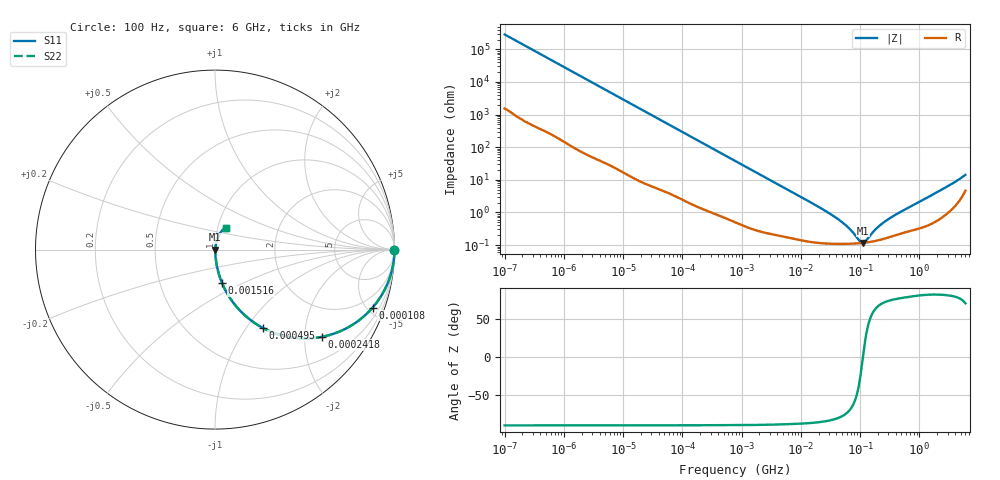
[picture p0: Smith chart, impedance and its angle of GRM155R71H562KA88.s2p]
!Murata Part Number: GRM155R71H562KA88
!These Parameters are Measured in Series Mode Connection
!Data Generated on Mar 30, 2021
!  o--ll--o
!Port1  Port2
!  o------o
!Operation Temp=25[degC], DC Bias Voltage=0[V]
!Freq. Start=100[Hz] Stop=6[GHz] 401[Steps]
# Hz S RI R 50
!Freq.(Hz) S11(Real) S11(Imag) S21(Real) S21(Imag) S12(Real) S12(Imag) S22(Real) S22(Imag)
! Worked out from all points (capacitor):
!   401 points, 100 Hz to 6 GHz, reference 50 ohm
!   read as one part in series: C = 5.56 nF near 109 Hz
!   lowest |Z| = 116 mohm at 111.6 MHz (marker M1)
!   series resonance near 111.8 MHz, so ESL is about 360 pH
!   S11 on the Smith chart (normalised r, x): 100 Hz: open; 108 kHz: 1.05, -5.42; 241.8 kHz: 1.02, -2.43; 495 kHz: 1.01, -1.19; 1.516 MHz: 1.01, -0.39; 6 GHz: 1.09, +0.27
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100  1 -0.00035  2e-06 0.00035  2e-06 0.00035  1 -0.00035
2008  0.9999 -0.00696  8.25e-05 0.00696  8.25e-05 0.00696  0.9999 -0.00696
12592  0.9979 -0.0433  0.00213 0.0433  0.00213 0.0433  0.9979 -0.0433
40335  0.9803 -0.1356  0.0197 0.1356  0.0197 0.1356  0.9803 -0.1356
108014  0.8782 -0.3229  0.1218 0.3229  0.1218 0.3229  0.8782 -0.3229
161617  0.7652 -0.4194  0.2348 0.4194  0.2348 0.4194  0.7652 -0.4194
241822  0.5955 -0.4859  0.4045 0.4859  0.4045 0.4859  0.5955 -0.4859
345986  0.4211 -0.4884  0.5789 0.4884  0.5789 0.4884  0.4211 -0.4884
495019  0.265 -0.4354  0.735 0.4354  0.735 0.4354  0.265 -0.4354
774597  0.1308 -0.3308  0.8692 0.3308  0.8692 0.3308  0.1308 -0.3308
1516199  0.0398 -0.1878  0.9602 0.1878  0.9602 0.1878  0.0398 -0.1878
4060267  0.00733 -0.073  0.9927 0.073  0.9927 0.073  0.00733 -0.073
1.555665e7  0.00158 -0.0191  0.9984 0.0191  0.9984 0.0191  0.00158 -0.0191
4.764863e7  0.00111 -0.00521  0.9989 0.00521  0.9989 0.00521  0.00111 -0.00521
6.817316e7  0.0011 -0.00279  0.9989 0.00279  0.9989 0.00279  0.0011 -0.00279
9.753859e7  0.00113 -0.000739  0.9989 0.000739  0.9989 0.000739  0.00113 -0.000739
1.115611e8  0.00116 -1.15e-05  0.9988 1.15e-05  0.9988 1.15e-05  0.00116 -1.15e-05
1.275994e8  0.00119 0.000712  0.9988 -0.000712  0.9988 -0.000712  0.00119 0.000712
1.996653e8  0.0014 0.00324  0.9986 -0.00324  0.9986 -0.00324  0.0014 0.00324
3.124326e8  0.00177 0.00625  0.9982 -0.00625  0.9982 -0.00625  0.00177 0.00625
1.873145e9  0.00661 0.0383  0.9934 -0.0383  0.9934 -0.0383  0.00661 0.0383
6e9  0.0596 0.12  0.9404 -0.12  0.9404 -0.12  0.0596 0.12
